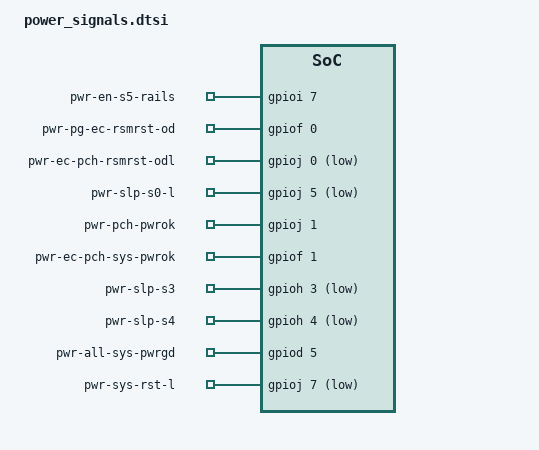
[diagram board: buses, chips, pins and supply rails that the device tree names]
/* Copyright 2025 The ChromiumOS Authors
 * Use of this source code is governed by a BSD-style license that can be
 * found in the LICENSE file.
 */

/ {
	chosen {
		intel-ap-pwrseq,espi = &espi0;
	};

	common-pwrseq {
		compatible = "intel,ap-pwrseq";

		sys-pwrok-delay = <3>;
		all-sys-pwrgd-timeout = <20>;
		sys-reset-delay = <60>;
	};

	pwr-en-s5-rails {
		compatible = "intel,ap-pwrseq-gpio";
		dbg-label = "EN_S5_RAILS enable output for PP5000/PP3300";
		enum-name = "PWR_EN_PP5000_A";
		gpios = <&gpioi 7 0>;
		output;
	};
	pwr-pg-ec-rsmrst-od {
		compatible = "intel,ap-pwrseq-gpio";
		dbg-label = "VCCPRIM_IO power good from regulator";
		enum-name = "PWR_RSMRST_PWRGD";
		gpios = <&gpiof 0 0>;
		interrupt-flags = <GPIO_INT_EDGE_BOTH>;
	};
	pwr-ec-pch-rsmrst-odl {
		compatible = "intel,ap-pwrseq-gpio";
		dbg-label = "RSMRST_L output to PCH";
		enum-name = "PWR_EC_PCH_RSMRST";
		gpios = <&gpioj 0 GPIO_ACTIVE_LOW>;
		reset-val = <1>;
		output;
	};
	pwr-slp-s0-l {
		compatible = "intel,ap-pwrseq-gpio";
		dbg-label = "SYS_SLP_S0IX_L input from PCH";
		enum-name = "PWR_SLP_S0";
		gpios = <&gpioj 5 GPIO_ACTIVE_LOW>;
		interrupt-flags = <GPIO_INT_EDGE_BOTH>;
	};
	pwr-pch-pwrok {
		compatible = "intel,ap-pwrseq-gpio";
		dbg-label = "PTL_PWROK output to PCH";
		enum-name = "PWR_PCH_PWROK";
		gpios = <&gpioj 1 (GPIO_OPEN_DRAIN | GPIO_VOLTAGE_1P8)>;
		output;
	};
	pwr-ec-pch-sys-pwrok {
		compatible = "intel,ap-pwrseq-gpio";
		dbg-label = "SYS_PWROK output to PCH";
		enum-name = "PWR_EC_PCH_SYS_PWROK";
		gpios = <&gpiof 1 (GPIO_OPEN_DRAIN | GPIO_VOLTAGE_1P8)>;
		output;
	};
	pwr-slp-s3 {
		compatible = "intel,ap-pwrseq-gpio";
		dbg-label = "SLP_S3_L input from PCH";
		enum-name = "PWR_SLP_S3";
		gpios = <&gpioh 3 (GPIO_ACTIVE_LOW | GPIO_VOLTAGE_1P8)>;
		interrupt-flags = <GPIO_INT_EDGE_BOTH>;
	};
	pwr-slp-s4 {
		compatible = "intel,ap-pwrseq-gpio";
		dbg-label = "SLP_S4_L input from PCH";
		enum-name = "PWR_SLP_S4";
		gpios = <&gpioh 4 (GPIO_ACTIVE_LOW | GPIO_VOLTAGE_1P8)>;
		interrupt-flags = <GPIO_INT_EDGE_BOTH>;
	};
	pwr-slp-s5 {
		compatible = "intel,ap-pwrseq-vw";
		dbg-label = "SLP_S5 virtual wire input from PCH";
		enum-name = "PWR_SLP_S5";
		virtual-wire = "ESPI_VWIRE_SIGNAL_SLP_S5";
		reset-val = <1>;
		vw-invert;
	};
	pwr-all-sys-pwrgd {
		compatible = "intel,ap-pwrseq-gpio";
		dbg-label = "all power good";
		enum-name = "PWR_ALL_SYS_PWRGD";
		gpios = <&gpiod 5 GPIO_ACTIVE_HIGH>;
		interrupt-flags = <GPIO_INT_EDGE_BOTH>;
	};
	pwr-sys-rst-l {
		compatible = "intel,ap-pwrseq-gpio";
		dbg-label = "SYS_RESET# output to PCH";
		enum-name = "PWR_SYS_RST";
		gpios = <&gpioj 7 (GPIO_ACTIVE_LOW | GPIO_OPEN_DRAIN)>;
		output;
	};
	ap-power {
		compatible = "ap-pwrseq-sub-states";
		chipset = "AP_POWER_STATE_S0IX";
	};
};
